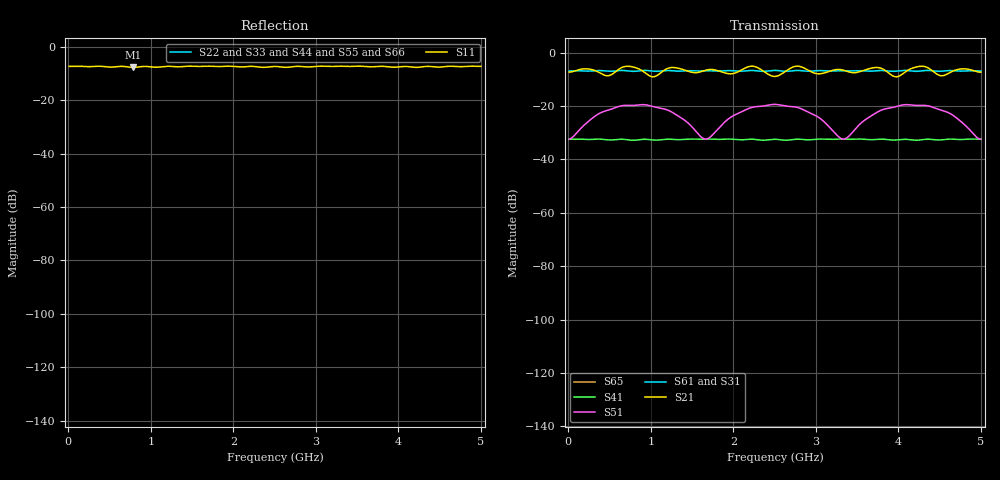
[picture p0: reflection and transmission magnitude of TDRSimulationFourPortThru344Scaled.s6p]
# MHz MA S R 50.0
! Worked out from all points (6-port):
!   500 points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, 10 MHz to 5 GHz, reference 50 ohm
!   strongest paths, dB at 10 MHz, 1.26 GHz, 2.51 GHz, 3.76 GHz, 5 GHz:
!     S21: -7.4, -5.6, -8.9, -5.6, -7.4
!     S61: -6.9, -6.8, -6.7, -6.8, -6.9
!     S31: -6.9, -6.9, -6.9, -6.9, -6.9
!     S51: -32.4, -22.4, -19.4, -22.0, -32.5
!     S41: -32.5, -32.5, -32.5, -32.4, -32.5
!     S65: -, -, -, -, -
!   lowest |S11| = -7.7 dB at 790 MHz (marker M1), VSWR 2.40, Z = 20.9 + j0.14 ohm
!   |S11| at or under -10 dB: nowhere
